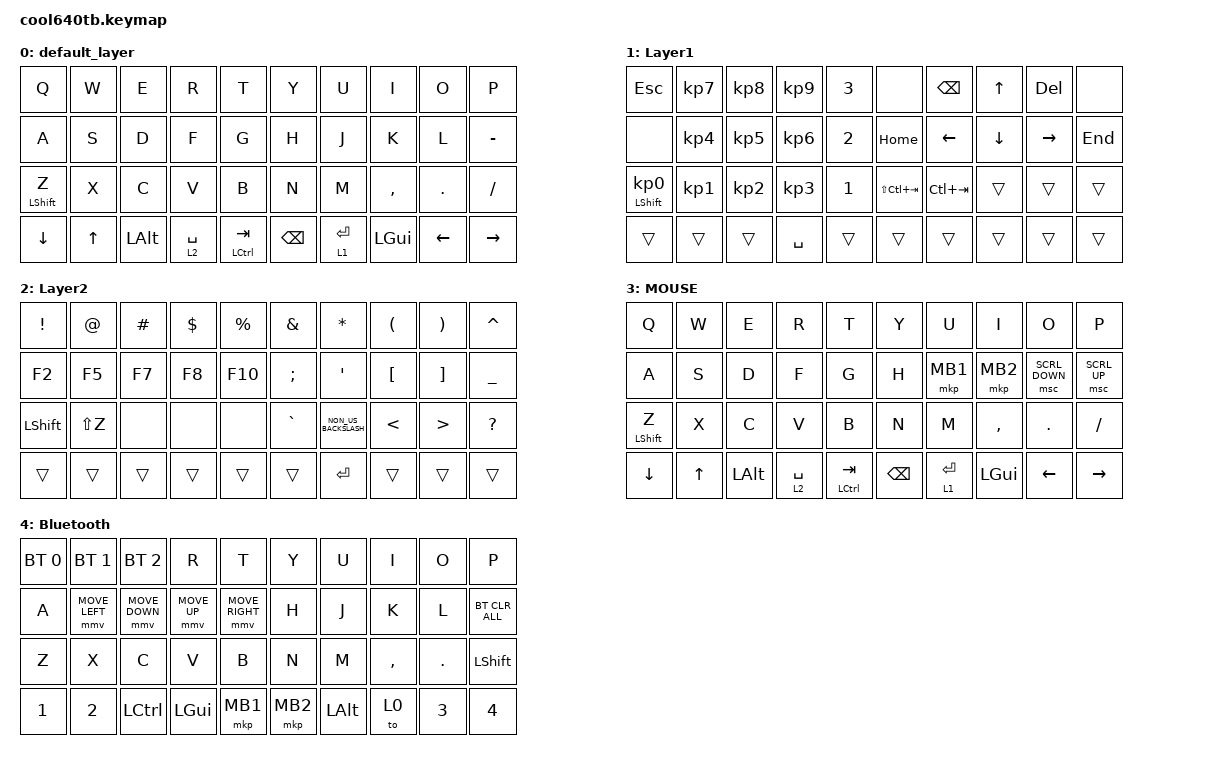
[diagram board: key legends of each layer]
// #define ZMK_POINTING_DEFAULT_MOVE_VAL 800 
// #define ZMK_POINTING_DEFAULT_SCRL_VAL 120

#include <behaviors.dtsi>
#include <dt-bindings/zmk/bt.h>
#include <dt-bindings/zmk/keys.h>
#include <dt-bindings/zmk/pointing.h>

// #include <dt-bindings/zmk/pointing.h>

#define MOUSE 4
#define SCROLL 5
#define NUM 6

/ {
    combos {
        compatible = "zmk,combos";

        toggle {
            bindings = <&kp LS(CAPSLOCK)>;
            key-positions = <16 17>;
            layers = <0 1 2>;
        };

        equal {
            bindings = <&kp EQUAL>;
            key-positions = <18 19>;
            require-prior-idle-ms = <0>;
            layers = <0>;
        };

        plus {
            bindings = <&kp PLUS>;
            key-positions = <18 19>;
            layers = <1 2>;
        };
    };

    macros {
        to_layer_0: to_layer_0 {
            compatible = "zmk,behavior-macro";
            #binding-cells = <0>;
            bindings = <&none>;
            label = "TO_LAYER_0";
        };
    };

    keymap {
        compatible = "zmk,keymap";

        default_layer {
            bindings = <
&kp Q        &kp W         &kp E         &kp R        &kp T          &kp Y          &kp U        &kp I         &kp O       &kp P
&kp A        &kp S         &kp D         &kp F        &kp G          &kp H          &kp J        &kp K         &kp L       &kp MINUS
&mt LSHFT Z  &kp X         &kp C         &kp V        &kp B          &kp N          &kp M        &kp COMMA     &kp PERIOD  &kp SLASH
&kp DOWN     &kp UP_ARROW  &kp LEFT_ALT  &lt 2 SPACE  &mt LCTRL TAB  &kp BACKSPACE  &lt 1 ENTER  &kp LEFT_GUI  &kp LEFT    &kp RIGHT
            >;
        };

        Layer1 {
            bindings = <
&kp ESCAPE              &kp KP_NUMBER_7  &kp KP_NUMBER_8  &kp KP_NUMBER_9  &kp NUMBER_3  &none            &kp BACKSPACE  &kp UP    &kp DELETE  &none
&none                   &kp KP_NUMBER_4  &kp KP_NUMBER_5  &kp KP_NUMBER_6  &kp NUMBER_2  &kp HOME         &kp LEFT       &kp DOWN  &kp RIGHT   &kp END
&mt LSHIFT KP_NUMBER_0  &kp KP_NUMBER_1  &kp KP_NUMBER_2  &kp KP_NUMBER_3  &kp NUMBER_1  &kp LS(LC(TAB))  &kp LC(TAB)    &trans    &trans      &trans
&trans                  &trans           &trans           &kp SPACE        &trans        &trans           &trans         &trans    &trans      &trans
            >;
        };

        Layer2 {
            bindings = <
&kp EXCLAMATION  &kp AT     &kp HASH  &kp DOLLAR  &kp PERCENT  &kp AMPERSAND  &kp ASTERISK          &kp LEFT_PARENTHESIS  &kp RIGHT_PARENTHESIS  &kp CARET
&kp F2           &kp F5     &kp F7    &kp F8      &kp F10      &kp SEMICOLON  &kp SQT               &kp LEFT_BRACKET      &kp RIGHT_BRACKET      &kp UNDERSCORE
&kp LSHIFT       &kp LS(Z)  &none     &none       &none        &kp GRAVE      &kp NON_US_BACKSLASH  &kp LESS_THAN         &kp GREATER_THAN       &kp QUESTION
&trans           &trans     &trans    &trans      &trans       &trans         &kp ENTER             &trans                &trans                 &trans
            >;
        };

        MOUSE {
            bindings = <
&kp Q             &kp W         &kp E         &kp R        &kp T          &kp Y          &kp U        &kp I         &kp O           &kp P
&kp A             &kp S         &kp D         &kp F        &kp G          &kp H          &mkp MB1     &mkp MB2      &msc SCRL_DOWN  &msc SCRL_UP
&mt LEFT_SHIFT Z  &kp X         &kp C         &kp V        &kp B          &kp N          &kp M        &kp COMMA     &kp PERIOD      &kp SLASH
&kp DOWN          &kp UP_ARROW  &kp LEFT_ALT  &lt 2 SPACE  &mt LCTRL TAB  &kp BACKSPACE  &lt 1 ENTER  &kp LEFT_GUI  &kp LEFT        &kp RIGHT
            >;
        };

        Bluetooth {
            bindings = <
&bt BT_SEL 0  &bt BT_SEL 1    &bt BT_SEL 2      &kp R         &kp T            &kp Y     &kp U         &kp I      &kp O       &kp P
&kp A         &mmv MOVE_LEFT  &mmv MOVE_DOWN    &mmv MOVE_UP  &mmv MOVE_RIGHT  &kp H     &kp J         &kp K      &kp L       &bt BT_CLR_ALL
&kp Z         &kp X           &kp C             &kp V         &kp B            &kp N     &kp M         &kp COMMA  &kp PERIOD  &kp LEFT_SHIFT
&kp N1        &kp N2          &kp LEFT_CONTROL  &kp LEFT_GUI  &mkp MB1         &mkp MB2  &kp LEFT_ALT  &to 0      &kp N3      &kp N4
            >;
        };
    };
};
